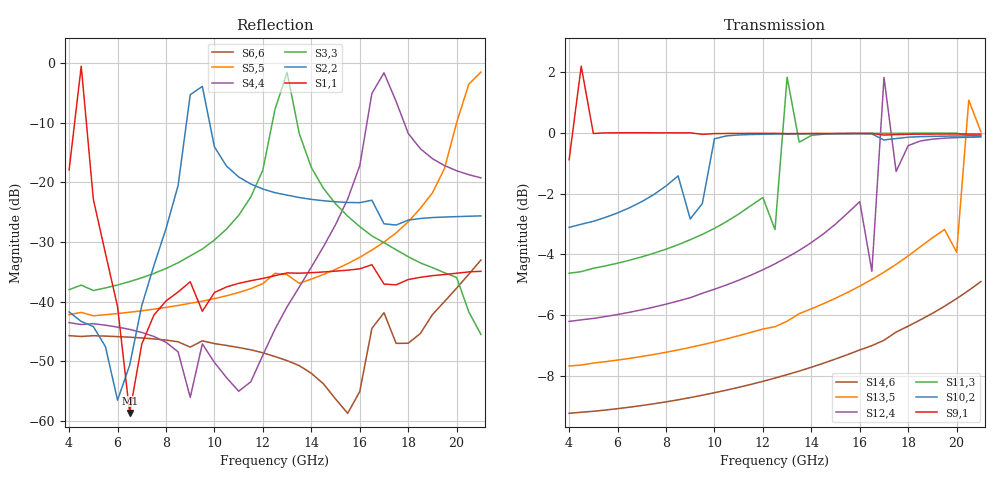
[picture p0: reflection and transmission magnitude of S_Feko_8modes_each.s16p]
! S-parameter export from POSTFEKO
! Filename: circular_2wg_8modes
! Creation date: 2020-01-01 12:27:59
# Hz S MA R  5.0000000E+01
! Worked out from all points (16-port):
!   35 points, 4 GHz to 21 GHz, reference 50 ohm
!   strongest paths, dB at 4 GHz, 8 GHz, 12.5 GHz, 17 GHz, 21 GHz:
!     S9,1: -0.9, 0.0, 0.0, -0.1, 0.0
!     S10,2: -3.1, -1.8, 0.0, -0.2, -0.1
!     S11,3: -4.6, -3.8, -3.2, 0.0, -0.1
!     S12,4: -6.2, -5.6, -4.3, 1.8, -0.1
!     S13,5: -7.7, -7.2, -6.4, -4.6, 0.0
!     S14,6: -9.2, -8.9, -8.1, -6.8, -4.9
!   lowest |S11| = -58.7 dB at 6.5 GHz (marker M1), VSWR 1.00, Z = 50 + j0.111 ohm
!   |S11| at or under -10 dB: start of sweep to 4.227 GHz; 4.713 GHz to end of sweep
